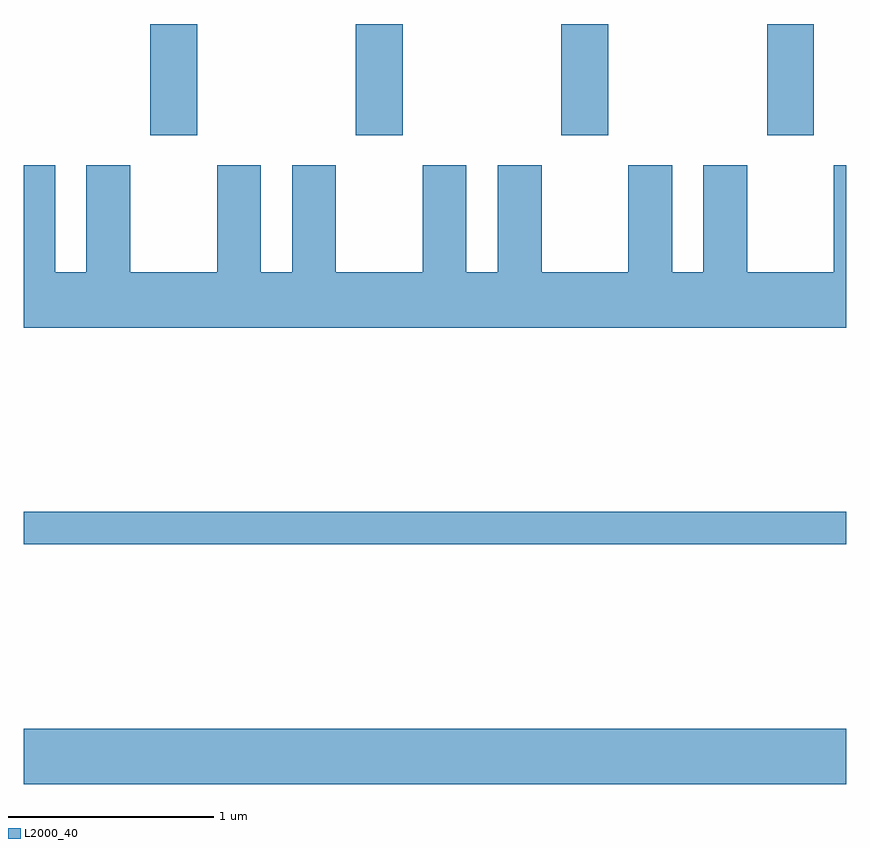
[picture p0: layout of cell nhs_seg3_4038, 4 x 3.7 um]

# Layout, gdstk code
import gdstk
lib = gdstk.Library(unit=1e-6, precision=1e-09)
def R(c, l, rs):  # rectangles x0, y0, x1, y1
    for r in rs: c.add(gdstk.rectangle(r[:2], r[2:], *l))
def A(c, l, x, y, w, h, nx, ny, dx, dy):  # array of equal rectangles
    R(c, l, [(x+i*dx, y+j*dy, x+i*dx+w, y+j*dy+h) for i in range(nx) for j in range(ny)])
def P(c, l, *ps):  # polygons
    for p in ps: c.add(gdstk.Polygon(p, *l))
L2000_40 = (2000, 40)

nhs_seg3_4038 = lib.new_cell('nhs_seg3_4038')
A(nhs_seg3_4038, L2000_40, 304.226, 1171.351, 0.228, 0.541, 4, 1, 1, 0)
R(nhs_seg3_4038, L2000_40, [(303.611,1168.196,307.611,1168.464), (303.611,1169.361,307.611,1169.519)])
P(nhs_seg3_4038, L2000_40, [(307.611,1171.204),(307.551,1171.204),(307.551,1170.684),(307.129,1170.684),(307.129,1171.204),(306.916,1171.204),(306.916,1170.684),(306.764,1170.684),(306.764,1171.204),(306.551,1171.204),(306.551,1170.684),(306.129,1170.684),(306.129,1171.204),(305.916,1171.204),(305.916,1170.684),(305.764,1170.684),(305.764,1171.204),(305.551,1171.204),(305.551,1170.684),(305.129,1170.684),(305.129,1171.204),(304.916,1171.204),(304.916,1170.684),(304.764,1170.684),(304.764,1171.204),(304.551,1171.204),(304.551,1170.684),(304.129,1170.684),(304.129,1171.204),(303.916,1171.204),(303.916,1170.684),(303.764,1170.684),(303.764,1171.204),(303.611,1171.204),(303.611,1170.416),(307.611,1170.416)])

lib.write_gds('nhs_seg3_4038.gds')
